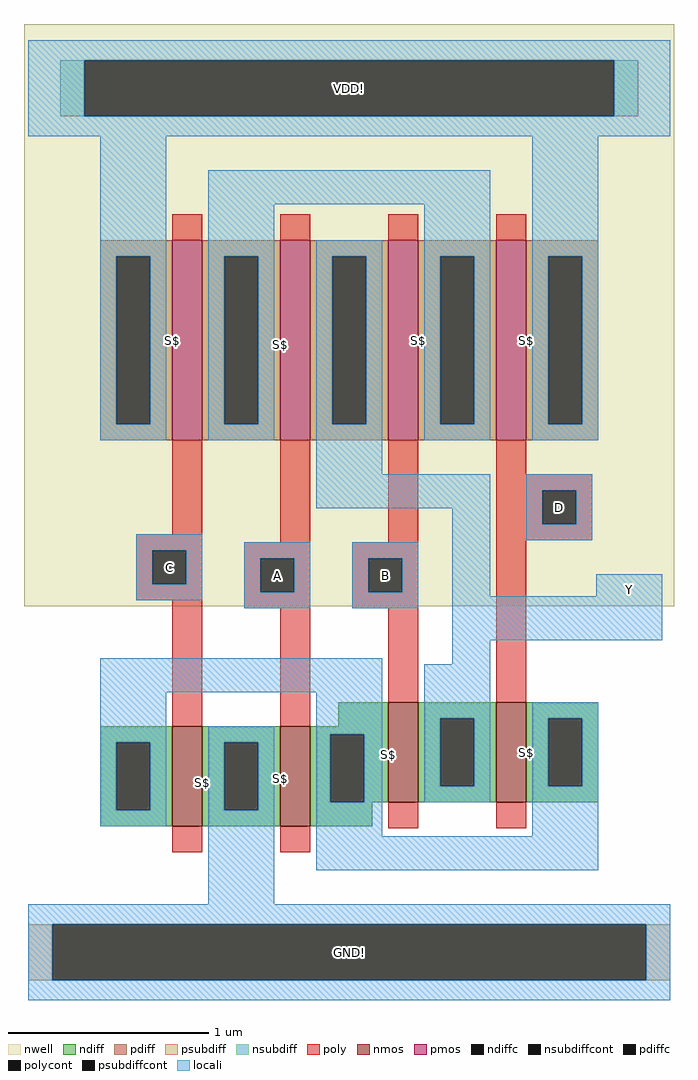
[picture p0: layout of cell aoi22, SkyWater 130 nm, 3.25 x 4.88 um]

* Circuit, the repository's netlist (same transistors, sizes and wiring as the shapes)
* NGSPICE file created from aoi22.ext - technology: sky130A

*.subckt aoi22 VDD GND Y C A D B
X0 VDD D a_174_560# VDD sky130_fd_pr__pfet_01v8 ad=0.36 pd=2.72 as=0.195 ps=1.39 w=1 l=0.15
X1 Y B a_72_174# GND sky130_fd_pr__nfet_01v8 ad=0.0975 pd=0.89 as=0.1077 ps=1.01 w=0.5 l=0.15
X2 GND C a_72_174# GND sky130_fd_pr__nfet_01v8 ad=0.0975 pd=0.89 as=0.18 ps=1.72 w=0.5 l=0.15
X3 a_72_174# D Y GND sky130_fd_pr__nfet_01v8 ad=0.18 pd=1.72 as=0.0975 ps=0.89 w=0.5 l=0.15
X4 a_72_174# A GND GND sky130_fd_pr__nfet_01v8 ad=0.1077 pd=1.01 as=0.0975 ps=0.89 w=0.5 l=0.15
X5 a_174_560# C VDD VDD sky130_fd_pr__pfet_01v8 ad=0.195 pd=1.39 as=0.36 ps=2.72 w=1 l=0.15
X6 Y A a_174_560# VDD sky130_fd_pr__pfet_01v8 ad=0.195 pd=1.39 as=0.195 ps=1.39 w=1 l=0.15
X7 a_174_560# B Y VDD sky130_fd_pr__pfet_01v8 ad=0.195 pd=1.39 as=0.195 ps=1.39 w=1 l=0.15
*.ends

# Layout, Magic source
magic
tech sky130A
<< nwell >>
rect -2 197 323 488
<< nmos >>
rect 72 87 87 137
rect 126 87 141 137
rect 180 99 195 149
rect 234 99 249 149
<< pmos >>
rect 72 280 87 380
rect 126 280 141 380
rect 180 280 195 380
rect 234 280 249 380
<< ndiff >>
rect 155 137 180 149
rect 36 129 72 137
rect 36 95 44 129
rect 61 95 72 129
rect 36 87 72 95
rect 87 129 126 137
rect 87 95 98 129
rect 115 95 126 129
rect 87 87 126 95
rect 141 133 180 137
rect 141 99 151 133
rect 168 99 180 133
rect 195 141 234 149
rect 195 107 206 141
rect 223 107 234 141
rect 195 99 234 107
rect 249 141 285 149
rect 249 107 260 141
rect 277 107 285 141
rect 249 99 285 107
rect 141 87 172 99
<< pdiff >>
rect 36 372 72 380
rect 36 288 44 372
rect 61 288 72 372
rect 36 280 72 288
rect 87 372 126 380
rect 87 288 98 372
rect 115 288 126 372
rect 87 280 126 288
rect 141 372 180 380
rect 141 288 152 372
rect 169 288 180 372
rect 141 280 180 288
rect 195 372 234 380
rect 195 288 206 372
rect 223 288 234 372
rect 195 280 234 288
rect 249 372 285 380
rect 249 288 260 372
rect 277 288 285 372
rect 249 280 285 288
<< ndiffc >>
rect 44 95 61 129
rect 98 95 115 129
rect 151 99 168 133
rect 206 107 223 141
rect 260 107 277 141
<< pdiffc >>
rect 44 288 61 372
rect 98 288 115 372
rect 152 288 169 372
rect 206 288 223 372
rect 260 288 277 372
<< psubdiff >>
rect 0 10 12 38
rect 309 10 321 38
<< nsubdiff >>
rect 16 442 28 470
rect 293 442 305 470
<< psubdiffcont >>
rect 12 10 309 38
<< nsubdiffcont >>
rect 28 442 293 470
<< poly >>
rect 72 380 87 393
rect 126 380 141 393
rect 180 380 195 393
rect 234 380 249 393
rect 72 233 87 280
rect 54 225 87 233
rect 126 229 141 280
rect 180 229 195 280
rect 54 208 62 225
rect 79 208 87 225
rect 54 200 87 208
rect 72 137 87 200
rect 108 221 141 229
rect 108 204 116 221
rect 133 204 141 221
rect 108 196 141 204
rect 162 221 195 229
rect 162 204 170 221
rect 187 204 195 221
rect 162 196 195 204
rect 126 137 141 196
rect 180 149 195 196
rect 234 263 249 280
rect 234 255 282 263
rect 234 238 257 255
rect 274 238 282 255
rect 234 230 282 238
rect 234 149 249 230
rect 72 74 87 87
rect 126 74 141 87
rect 180 86 195 99
rect 234 86 249 99
<< polycont >>
rect 62 208 79 225
rect 116 204 133 221
rect 170 204 187 221
rect 257 238 274 255
<< locali >>
rect 0 470 321 480
rect 0 442 28 470
rect 293 442 321 470
rect 0 432 321 442
rect 36 372 69 432
rect 36 288 44 372
rect 61 288 69 372
rect 36 280 69 288
rect 90 398 231 415
rect 90 372 123 398
rect 90 288 98 372
rect 115 288 123 372
rect 90 280 123 288
rect 144 372 177 380
rect 144 288 152 372
rect 169 288 177 372
rect 144 263 177 288
rect 198 372 231 398
rect 198 288 206 372
rect 223 288 231 372
rect 198 280 231 288
rect 252 372 285 432
rect 252 288 260 372
rect 277 288 285 372
rect 252 280 285 288
rect 144 246 231 263
rect 54 225 87 233
rect 54 208 62 225
rect 79 208 87 225
rect 54 200 87 208
rect 108 221 141 229
rect 108 204 116 221
rect 133 204 141 221
rect 108 196 141 204
rect 162 221 195 229
rect 162 204 170 221
rect 187 204 195 221
rect 162 196 195 204
rect 212 202 231 246
rect 249 255 282 263
rect 249 238 257 255
rect 274 238 282 255
rect 249 230 282 238
rect 284 202 317 213
rect 212 180 317 202
rect 36 154 177 171
rect 212 168 231 180
rect 36 129 69 154
rect 36 95 44 129
rect 61 95 69 129
rect 36 87 69 95
rect 90 129 123 137
rect 90 95 98 129
rect 115 95 123 129
rect 90 48 123 95
rect 144 133 177 154
rect 144 99 151 133
rect 168 99 177 133
rect 198 141 231 168
rect 198 107 206 141
rect 223 107 231 141
rect 198 99 231 107
rect 252 141 285 149
rect 252 107 260 141
rect 277 107 285 141
rect 144 82 177 99
rect 252 82 285 107
rect 144 65 285 82
rect 0 38 321 48
rect 0 10 12 38
rect 309 10 321 38
rect 0 0 321 10
<< labels >>
flabel locali 0 0 321 48 0 FreeSerif 80 0 0 0 GND!
port 3 nsew
flabel locali 0 432 321 480 0 FreeSerif 80 0 0 0 VDD!
port 2 nsew
flabel pdiff 126 328 126 328 1 FreeSerif 8 0 0 0 S$
flabel pdiff 249 330 249 330 1 FreeSerif 8 0 0 0 S$
flabel pdiff 195 330 195 330 1 FreeSerif 8 0 0 0 S$
flabel pdiff 72 330 72 330 1 FreeSerif 8 0 0 0 S$
flabel ndiff 249 124 249 124 1 FreeSerif 8 0 0 0 S$
flabel ndiff 180 123 180 123 1 FreeSerif 8 0 0 0 S$
flabel locali 284 198 317 213 0 FreeSerif 80 0 0 0 Y
port 4 nsew
flabel ndiff 126 111 126 111 1 FreeSerif 8 0 0 0 S$
flabel ndiff 87 109 87 109 1 FreeSerif 8 0 0 0 S$
flabel locali 54 200 87 233 0 FreeSerif 80 0 0 0 C
port 11 nsew
flabel locali 108 196 141 229 0 FreeSerif 80 0 0 0 A
port 12 nsew
flabel locali 162 196 195 229 0 FreeSerif 80 0 0 0 B
port 14 nsew
flabel locali 249 230 282 263 0 FreeSerif 80 0 0 0 D
port 13 nsew
<< end >>
